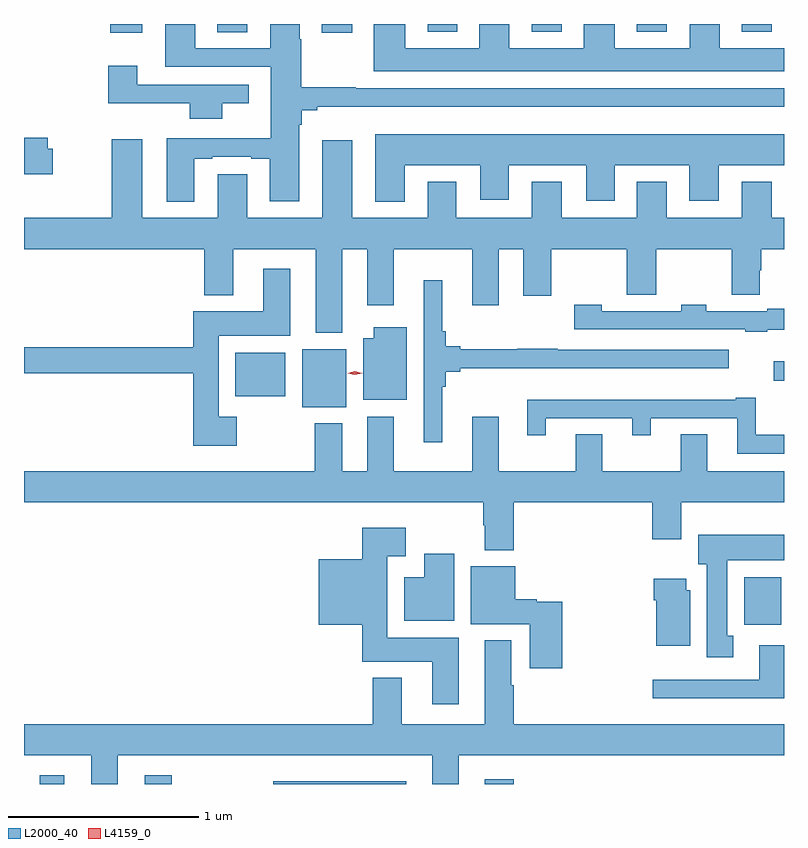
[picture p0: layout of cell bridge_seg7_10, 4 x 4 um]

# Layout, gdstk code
import gdstk
lib = gdstk.Library(unit=1e-6, precision=1e-09)
def R(c, l, rs):  # rectangles x0, y0, x1, y1
    for r in rs: c.add(gdstk.rectangle(r[:2], r[2:], *l))
def A(c, l, x, y, w, h, nx, ny, dx, dy):  # array of equal rectangles
    R(c, l, [(x+i*dx, y+j*dy, x+i*dx+w, y+j*dy+h) for i in range(nx) for j in range(ny)])
def P(c, l, *ps):  # polygons
    for p in ps: c.add(gdstk.Polygon(p, *l))
L2000_40 = (2000, 40)
L4159_0 = (4159, 0)

bridge_seg7_10 = lib.new_cell('bridge_seg7_10')
A(bridge_seg7_10, L2000_40, 1118.624, 1069.691, 0.158, 0.042, 3, 1, 0.552, 0)
R(bridge_seg7_10, L2000_40, [(1116.035,1065.733,1116.163,1065.778), (1116.587,1065.733,1116.728,1065.778), (1117.263,1065.733,1117.963,1065.748), (1118.375,1065.733,1118.528,1065.757), (1119.741,1066.572,1119.937,1066.822), (1117.415,1067.717,1117.648,1068.022), (1117.064,1067.774,1117.327,1068.004), (1119.897,1067.855,1119.951,1067.959), (1116.404,1069.686,1116.574,1069.733), (1117.517,1069.686,1117.678,1069.733), (1116.968,1069.69,1117.126,1069.733), (1118.075,1069.691,1118.23,1069.733)])
P(bridge_seg7_10, L2000_40, [(1119.951,1069.606),(1119.613,1069.606),(1119.613,1069.733),(1119.455,1069.733),(1119.455,1069.606),(1119.061,1069.606),(1119.061,1069.733),(1118.897,1069.733),(1118.897,1069.606),(1118.506,1069.606),(1118.506,1069.733),(1118.348,1069.733),(1118.348,1069.606),(1117.957,1069.606),(1117.957,1069.733),(1117.793,1069.733),(1117.793,1069.484),(1119.951,1069.484)],
  [(1116.847,1069.023),(1116.943,1069.023),(1116.943,1069.035),(1117.148,1069.035),(1117.148,1069.023),(1117.244,1069.023),(1117.244,1068.801),(1117.399,1068.801),(1117.399,1069.202),(1117.412,1069.202),(1117.412,1069.279),(1117.495,1069.279),(1117.495,1069.298),(1119.951,1069.298),(1119.951,1069.395),(1117.697,1069.395),(1117.697,1069.4),(1117.41,1069.4),(1117.41,1069.652),(1117.402,1069.652),(1117.402,1069.733),(1117.247,1069.733),(1117.247,1069.605),(1116.853,1069.605),(1116.853,1069.733),(1116.695,1069.733),(1116.695,1069.509),(1117.25,1069.509),(1117.25,1069.131),(1116.701,1069.131),(1116.701,1068.798),(1116.847,1068.798)],
  [(1116.994,1069.316),(1117.135,1069.316),(1117.135,1069.413),(1116.547,1069.413),(1116.547,1069.513),(1116.395,1069.513),(1116.395,1069.316),(1116.824,1069.316),(1116.824,1069.235),(1116.994,1069.235)],
  [(1117.954,1068.989),(1118.351,1068.989),(1118.351,1068.807),(1118.503,1068.807),(1118.503,1068.989),(1118.909,1068.989),(1118.909,1068.804),(1119.061,1068.804),(1119.061,1068.989),(1119.452,1068.989),(1119.452,1068.804),(1119.607,1068.804),(1119.607,1068.989),(1119.951,1068.989),(1119.951,1069.153),(1117.799,1069.153),(1117.799,1068.797),(1117.954,1068.797)],
  [(1116.103,1069.076),(1116.075,1069.076),(1116.075,1069.135),(1115.951,1069.135),(1115.951,1068.941),(1116.103,1068.941)],
  [(1116.971,1068.943),(1116.971,1068.712),(1116.574,1068.712),(1116.574,1069.126),(1116.413,1069.126),(1116.413,1068.712),(1115.951,1068.712),(1115.951,1068.548),(1116.899,1068.548),(1116.899,1068.305),(1117.051,1068.305),(1117.051,1068.548),(1117.487,1068.548),(1117.487,1068.107),(1117.627,1068.107),(1117.627,1068.548),(1117.757,1068.548),(1117.757,1068.252),(1117.897,1068.252),(1117.897,1068.548),(1118.309,1068.548),(1118.309,1068.252),(1118.449,1068.252),(1118.449,1068.548),(1118.579,1068.548),(1118.579,1068.303),(1118.727,1068.303),(1118.727,1068.548),(1119.124,1068.548),(1119.124,1068.307),(1119.278,1068.307),(1119.278,1068.548),(1119.676,1068.548),(1119.676,1068.307),(1119.823,1068.307),(1119.823,1068.436),(1119.831,1068.436),(1119.831,1068.548),(1119.951,1068.548),(1119.951,1068.712),(1119.886,1068.712),(1119.886,1068.904),(1119.728,1068.904),(1119.728,1068.712),(1119.334,1068.712),(1119.334,1068.904),(1119.176,1068.904),(1119.176,1068.712),(1118.782,1068.712),(1118.782,1068.904),(1118.624,1068.904),(1118.624,1068.712),(1118.227,1068.712),(1118.227,1068.904),(1118.075,1068.904),(1118.075,1068.712),(1117.678,1068.712),(1117.678,1069.12),(1117.52,1069.12),(1117.52,1068.712),(1117.126,1068.712),(1117.126,1068.943)],
  [(1117.072,1067.665),(1116.976,1067.665),(1116.976,1068.092),(1117.351,1068.092),(1117.351,1068.445),(1117.211,1068.445),(1117.211,1068.22),(1116.842,1068.22),(1116.842,1068.032),(1115.951,1068.032),(1115.951,1067.896),(1116.842,1067.896),(1116.842,1067.513),(1117.072,1067.513)],
  [(1118.152,1067.825),(1118.171,1067.825),(1118.171,1067.902),(1118.248,1067.902),(1118.248,1067.92),(1118.504,1067.92),(1118.504,1067.921),(1119.661,1067.921),(1119.661,1068.018),(1118.759,1068.018),(1118.759,1068.023),(1118.548,1068.023),(1118.548,1068.021),(1118.248,1068.021),(1118.248,1068.038),(1118.171,1068.038),(1118.171,1068.115),(1118.152,1068.115),(1118.152,1068.385),(1118.055,1068.385),(1118.055,1067.532),(1118.152,1067.532)],
  [(1119.862,1068.125),(1119.951,1068.125),(1119.951,1068.235),(1119.863,1068.235),(1119.863,1068.222),(1119.543,1068.222),(1119.543,1068.255),(1119.411,1068.255),(1119.411,1068.222),(1118.991,1068.222),(1118.991,1068.255),(1118.847,1068.255),(1118.847,1068.126),(1119.748,1068.126),(1119.748,1068.114),(1119.862,1068.114)],
  [(1117.966,1068.136),(1117.793,1068.136),(1117.793,1068.079),(1117.736,1068.079),(1117.736,1067.756),(1117.966,1067.756)],
  [(1119.951,1067.572),(1119.802,1067.572),(1119.802,1067.767),(1119.698,1067.767),(1119.698,1067.755),(1118.6,1067.755),(1118.6,1067.568),(1118.698,1067.568),(1118.698,1067.658),(1119.152,1067.658),(1119.152,1067.568),(1119.25,1067.568),(1119.25,1067.658),(1119.704,1067.658),(1119.704,1067.471),(1119.951,1067.471)],
  [(1118.528,1067.216),(1119.257,1067.216),(1119.257,1067.022),(1119.409,1067.022),(1119.409,1067.216),(1119.951,1067.216),(1119.951,1067.38),(1119.547,1067.38),(1119.547,1067.573),(1119.407,1067.573),(1119.407,1067.38),(1118.995,1067.38),(1118.995,1067.573),(1118.855,1067.573),(1118.855,1067.38),(1118.449,1067.38),(1118.449,1067.665),(1118.309,1067.665),(1118.309,1067.38),(1117.897,1067.38),(1117.897,1067.665),(1117.757,1067.665),(1117.757,1067.38),(1117.627,1067.38),(1117.627,1067.632),(1117.48,1067.632),(1117.48,1067.38),(1115.951,1067.38),(1115.951,1067.216),(1118.368,1067.216),(1118.368,1067.096),(1118.375,1067.096),(1118.375,1066.964),(1118.528,1066.964)],
  [(1118.239,1066.504),(1117.864,1066.504),(1117.864,1066.931),(1117.96,1066.931),(1117.96,1067.083),(1117.73,1067.083),(1117.73,1066.915),(1117.502,1066.915),(1117.502,1066.571),(1117.73,1066.571),(1117.73,1066.376),(1118.099,1066.376),(1118.099,1066.152),(1118.239,1066.152)],
  [(1119.685,1066.513),(1119.652,1066.513),(1119.652,1066.91),(1119.951,1066.91),(1119.951,1067.044),(1119.5,1067.044),(1119.5,1066.89),(1119.545,1066.89),(1119.545,1066.401),(1119.685,1066.401)],
  [(1118.215,1066.945),(1118.057,1066.945),(1118.057,1066.822),(1117.952,1066.822),(1117.952,1066.592),(1118.215,1066.592)],
  [(1118.783,1066.693),(1118.649,1066.693),(1118.649,1066.706),(1118.536,1066.706),(1118.536,1066.879),(1118.303,1066.879),(1118.303,1066.574),(1118.612,1066.574),(1118.612,1066.341),(1118.783,1066.341)],
  [(1119.457,1066.752),(1119.436,1066.752),(1119.436,1066.813),(1119.266,1066.813),(1119.266,1066.7),(1119.278,1066.7),(1119.278,1066.46),(1119.457,1066.46)],
  [(1116.445,1065.884),(1118.099,1065.884),(1118.099,1065.733),(1118.239,1065.733),(1118.239,1065.884),(1119.951,1065.884),(1119.951,1066.048),(1118.528,1066.048),(1118.528,1066.253),(1118.515,1066.253),(1118.515,1066.489),(1118.375,1066.489),(1118.375,1066.048),(1117.939,1066.048),(1117.939,1066.291),(1117.787,1066.291),(1117.787,1066.048),(1115.951,1066.048),(1115.951,1065.884),(1116.305,1065.884),(1116.305,1065.733),(1116.445,1065.733)],
  [(1119.951,1066.462),(1119.821,1066.462),(1119.821,1066.281),(1119.261,1066.281),(1119.261,1066.184),(1119.951,1066.184)])
P(bridge_seg7_10, L4159_0, [(1117.692,1067.886),(1117.655,1067.896),(1117.654,1067.896),(1117.655,1067.896),(1117.692,1067.906),(1117.73,1067.896),(1117.73,1067.896),(1117.73,1067.896)])

lib.write_gds('bridge_seg7_10.gds')
